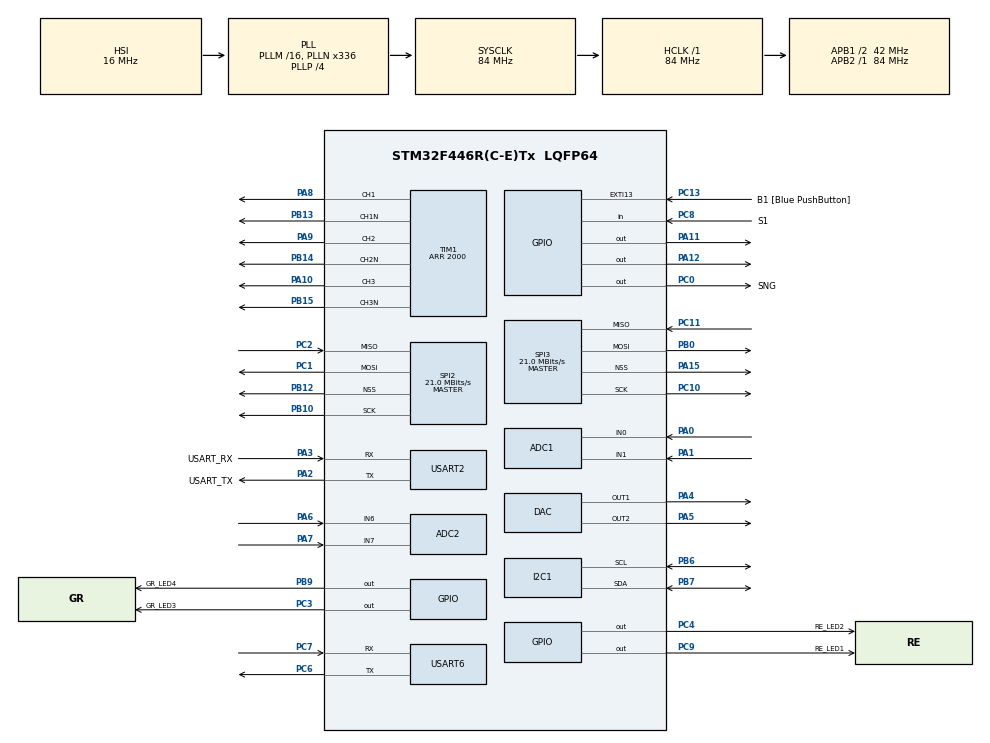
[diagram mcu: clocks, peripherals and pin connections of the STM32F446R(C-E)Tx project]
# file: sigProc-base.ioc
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ADC1.Channel-0\#ChannelRegularConversion=ADC_CHANNEL_0
ADC1.ClockPrescaler=ADC_CLOCK_SYNC_PCLK_DIV8
ADC1.EOCSelection=ADC_EOC_SEQ_CONV
ADC1.ExternalTrigConv=ADC_EXTERNALTRIGCONV_T2_TRGO
ADC1.NbrOfConversion=1
ADC1.NbrOfConversionFlag=1
ADC1.Rank-0\#ChannelRegularConversion=1
ADC1.SamplingTime-0\#ChannelRegularConversion=ADC_SAMPLETIME_3CYCLES
ADC1.master=1
ADC2.Channel-0\#ChannelRegularConversion=ADC_CHANNEL_6
ADC2.ClockPrescaler=ADC_CLOCK_SYNC_PCLK_DIV8
ADC2.EOCSelection=ADC_EOC_SEQ_CONV
ADC2.ExternalTrigConv=ADC_EXTERNALTRIGCONV_T2_TRGO
ADC2.NbrOfConversion=1
ADC2.NbrOfConversionFlag=1
ADC2.Rank-0\#ChannelRegularConversion=1
ADC2.SamplingTime-0\#ChannelRegularConversion=ADC_SAMPLETIME_3CYCLES
Dma.Request0=USART6_RX
Dma.Request1=USART6_TX
Dma.USART6_RX.0.Direction=DMA_PERIPH_TO_MEMORY
Dma.USART6_RX.0.FIFOMode=DMA_FIFOMODE_DISABLE
Dma.USART6_RX.0.Instance=DMA2_Stream1
Dma.USART6_RX.0.MemDataAlignment=DMA_MDATAALIGN_BYTE
Dma.USART6_RX.0.MemInc=DMA_MINC_ENABLE
Dma.USART6_RX.0.Mode=DMA_NORMAL
Dma.USART6_RX.0.PeriphDataAlignment=DMA_PDATAALIGN_BYTE
Dma.USART6_RX.0.PeriphInc=DMA_PINC_DISABLE
Dma.USART6_RX.0.Priority=DMA_PRIORITY_LOW
Dma.USART6_TX.1.Direction=DMA_MEMORY_TO_PERIPH
Dma.USART6_TX.1.FIFOMode=DMA_FIFOMODE_DISABLE
Dma.USART6_TX.1.Instance=DMA2_Stream6
Dma.USART6_TX.1.MemDataAlignment=DMA_MDATAALIGN_BYTE
Dma.USART6_TX.1.MemInc=DMA_MINC_ENABLE
Dma.USART6_TX.1.Mode=DMA_NORMAL
Dma.USART6_TX.1.PeriphDataAlignment=DMA_PDATAALIGN_BYTE
Dma.USART6_TX.1.PeriphInc=DMA_PINC_DISABLE
Dma.USART6_TX.1.Priority=DMA_PRIORITY_LOW
Mcu.Family=STM32F4
Mcu.Name=STM32F446R(C-E)Tx
Mcu.Package=LQFP64
NVIC.ADC_IRQn=true\:0\:0\:false\:false\:true\:true\:true\:true
NVIC.DMA2_Stream1_IRQn=true\:0\:0\:false\:false\:true\:false\:true\:true
NVIC.DMA2_Stream6_IRQn=true\:0\:0\:false\:false\:true\:false\:true\:true
NVIC.PriorityGroup=NVIC_PRIORITYGROUP_0
NVIC.TIM1_UP_TIM10_IRQn=true\:0\:0\:false\:false\:true\:true\:true\:true
NVIC.USART2_IRQn=true\:0\:0\:false\:false\:true\:true\:true\:true
NVIC.USART6_IRQn=true\:0\:0\:false\:false\:true\:true\:true\:true
PA0-WKUP.Signal=ADCx_IN0
PA1.Signal=ADCx_IN1
PA10.Signal=S_TIM1_CH3
PA11.Signal=GPIO_Output
PA12.Signal=GPIO_Output
PA13.GPIO_Label=TMS
PA13.Mode=Serial_Wire
PA13.Signal=SYS_JTMS-SWDIO
PA14.GPIO_Label=TCK
PA14.Mode=Serial_Wire
PA14.Signal=SYS_JTCK-SWCLK
PA15.Mode=NSS_Signal_Hard_Output
PA15.Signal=SPI3_NSS
PA2.GPIO_Label=USART_TX
PA2.Mode=Asynchronous
PA2.Signal=USART2_TX
PA3.GPIO_Label=USART_RX
PA3.Mode=Asynchronous
PA3.Signal=USART2_RX
PA4.Signal=COMP_DAC1_group
PA5.Signal=COMP_DAC2_group
PA6.Signal=ADCx_IN6
PA7.Signal=ADCx_IN7
PA8.Signal=S_TIM1_CH1
PA9.Signal=S_TIM1_CH2
PB0.Mode=Full_Duplex_Master
PB0.Signal=SPI3_MOSI
PB10.Mode=Full_Duplex_Master
PB10.Signal=SPI2_SCK
PB12.Mode=NSS_Signal_Hard_Output
PB12.Signal=SPI2_NSS
PB13.Mode=PWM Generation1 CH1 CH1N
PB13.Signal=TIM1_CH1N
PB14.Mode=Output Compare2 CH2 CH2N
PB14.Signal=TIM1_CH2N
PB15.Mode=Output Compare3 CH3 CH3N
PB15.Signal=TIM1_CH3N
PB3.GPIO_Label=SWO
PB3.Signal=SYS_JTDO-SWO
PB6.Mode=I2C
PB6.Signal=I2C1_SCL
PB7.Mode=I2C
PB7.Signal=I2C1_SDA
PB9.GPIO_Label=GR_LED4
PB9.Signal=GPIO_Output
PC0.GPIO_Label=SNG
PC0.Signal=GPIO_Output
PC1.Mode=Full_Duplex_Master
PC1.Signal=SPI2_MOSI
PC10.Mode=Full_Duplex_Master
PC10.Signal=SPI3_SCK
PC11.Mode=Full_Duplex_Master
PC11.Signal=SPI3_MISO
PC13.GPIO_Label=B1 [Blue PushButton]
PC13.GPIO_ModeDefaultEXTI=GPIO_MODE_IT_FALLING
PC13.Signal=GPXTI13
PC14-OSC32_IN.Mode=LSE-External-Oscillator
PC14-OSC32_IN.Signal=RCC_OSC32_IN
PC15-OSC32_OUT.Mode=LSE-External-Oscillator
PC15-OSC32_OUT.Signal=RCC_OSC32_OUT
PC2.Mode=Full_Duplex_Master
PC2.Signal=SPI2_MISO
PC3.GPIO_Label=GR_LED3
PC3.Signal=GPIO_Output
PC4.GPIO_Label=RE_LED2
PC4.Signal=GPIO_Output
PC6.Mode=Asynchronous
PC6.Signal=USART6_TX
PC7.Mode=Asynchronous
PC7.Signal=USART6_RX
PC8.GPIO_Label=S1
PC8.GPIO_PuPd=GPIO_PULLDOWN
PC8.Signal=GPIO_Input
PC9.GPIO_Label=RE_LED1
PC9.Signal=GPIO_Output
PH0-OSC_IN.Mode=HSE-External-Oscillator
PH0-OSC_IN.Signal=RCC_OSC_IN
PH1-OSC_OUT.Mode=HSE-External-Oscillator
PH1-OSC_OUT.Signal=RCC_OSC_OUT
ProjectManager.HeapSize=0x200
ProjectManager.StackSize=0x400
ProjectManager.TargetToolchain=STM32CubeIDE
RCC.48MHZClocksFreq_Value=84000000
RCC.AHBFreq_Value=84000000
RCC.APB1CLKDivider=RCC_HCLK_DIV2
RCC.APB1Freq_Value=42000000
RCC.APB1TimFreq_Value=84000000
RCC.APB2Freq_Value=84000000
RCC.APB2TimFreq_Value=84000000
RCC.CortexFreq_Value=84000000
RCC.FLatency-AdvancedSettings=FLASH_LATENCY_2
RCC.HCLKFreq_Value=84000000
RCC.HSE_VALUE=8000000
RCC.HSI_VALUE=16000000
RCC.PLLN=336
RCC.PLLP=RCC_PLLP_DIV4
RCC.SYSCLKFreq_VALUE=84000000
RCC.SYSCLKSource=RCC_SYSCLKSOURCE_PLLCLK
RCC.USBFreq_Value=168000000
RCC.VCOOutputFreq_Value=336000000
SH.ADCx_IN0.0=ADC1_IN0,IN0
SH.ADCx_IN1.0=ADC1_IN1,IN1
SH.ADCx_IN6.0=ADC2_IN6,IN6
SH.ADCx_IN7.0=ADC2_IN7,IN7
SH.COMP_DAC1_group.0=DAC_OUT1,DAC_OUT1
SH.COMP_DAC2_group.0=DAC_OUT2,DAC_OUT2
SH.S_TIM1_CH1.0=TIM1_CH1,PWM Generation1 CH1 CH1N
SH.S_TIM1_CH2.0=TIM1_CH2,Output Compare2 CH2 CH2N
SH.S_TIM1_CH3.0=TIM1_CH3,Output Compare3 CH3 CH3N
SPI2.CalculateBaudRate=21.0 MBits/s
SPI2.Direction=SPI_DIRECTION_2LINES
SPI2.Mode=SPI_MODE_MASTER
SPI2.VirtualNSS=VM_NSSHARD
SPI2.VirtualType=VM_MASTER
SPI3.CalculateBaudRate=21.0 MBits/s
SPI3.Direction=SPI_DIRECTION_2LINES
SPI3.Mode=SPI_MODE_MASTER
SPI3.VirtualNSS=VM_NSSHARD
SPI3.VirtualType=VM_MASTER
TIM1.Channel-Output\ Compare2\ CH2\ CH2N=TIM_CHANNEL_2
TIM1.Channel-Output\ Compare3\ CH3\ CH3N=TIM_CHANNEL_3
TIM1.Channel-PWM\ Generation1\ CH1\ CH1N=TIM_CHANNEL_1
TIM1.Period=2000
TIM1.Pulse-PWM\ Generation1\ CH1\ CH1N=10
TIM1.TIM_MasterOutputTrigger=TIM_TRGO_UPDATE
TIM10.AutoReloadPreload=TIM_AUTORELOAD_PRELOAD_ENABLE
TIM10.Channel=TIM_CHANNEL_1
TIM10.Period=1000
TIM10.Prescaler=83
TIM2.AutoReloadPreload=TIM_AUTORELOAD_PRELOAD_ENABLE
TIM2.Channel-PWM\ Generation1\ No\ Output=TIM_CHANNEL_1
TIM2.Period=5000
TIM2.Pulse-PWM\ Generation1\ No\ Output=50
TIM2.TIM_MasterOutputTrigger=TIM_TRGO_UPDATE
USART2.VirtualMode=VM_ASYNC
USART6.VirtualMode=VM_ASYNC
VP_TIM10_VS_ClockSourceINT.Mode=Enable_Timer
VP_TIM10_VS_no_output1.Mode=Output Compare1 No Output
VP_TIM1_VS_ClockSourceINT.Mode=Internal
VP_TIM2_VS_ClockSourceINT.Mode=Internal
VP_TIM2_VS_no_output1.Mode=PWM Generation1 No Output
board=NUCLEO-F446RE

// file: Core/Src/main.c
/* USER CODE BEGIN Header */
/**
  ******************************************************************************
  * @file           : main.c
  * @brief          : Main program body
  ******************************************************************************
  * @attention
  *
  * Copyright (c) 2025 STMicroelectronics.
  * All rights reserved.
  *
  * This software is licensed under terms that can be found in the LICENSE file
  * in the root directory of this software component.
  * If no LICENSE file comes with this software, it is provided AS-IS.
  *
  ******************************************************************************
  */
/* USER CODE END Header */
#include "main.h"
#include "adc.h"
#include "dac.h"
#include "dma.h"
#include "i2c.h"
#include "spi.h"
#include "tim.h"
#include "usart.h"
#include "gpio.h"
#include "string.h"

/* USER CODE BEGIN Includes */
#include "app.h"
#include "stdio.h"
#include "stdbool.h"

/* USER CODE END Includes */

void SystemClock_Config(void);

int main(void)
{

  /* MCU Configuration--------------------------------------------------------*/

  /* Reset of all peripherals, Initializes the Flash interface and the Systick. */
  HAL_Init();

  /* Configure the system clock */
  SystemClock_Config();

  /* Initialize all configured peripherals */
  MX_GPIO_Init();
  MX_DMA_Init();
  MX_USART2_UART_Init();
  MX_ADC1_Init();
  MX_DAC_Init();
  MX_TIM1_Init();
  MX_ADC2_Init();
  MX_I2C1_Init();
  MX_SPI2_Init();
  MX_SPI3_Init();
  MX_USART6_UART_Init();
  MX_TIM10_Init();
  MX_TIM2_Init();
  /* USER CODE BEGIN 2 */

  HAL_GPIO_WritePin(RE_LED1_GPIO_Port, RE_LED1_Pin, GPIO_PIN_SET);
  HAL_GPIO_WritePin(RE_LED2_GPIO_Port, RE_LED2_Pin, GPIO_PIN_SET);
  HAL_GPIO_WritePin(GR_LED3_GPIO_Port, GR_LED3_Pin, GPIO_PIN_SET);
  HAL_GPIO_WritePin(GR_LED4_GPIO_Port, GR_LED4_Pin, GPIO_PIN_SET);

  HAL_DAC_Start(&hdac, DAC_CHANNEL_1);
  HAL_DAC_Start(&hdac, DAC_CHANNEL_2);

  HAL_GPIO_WritePin(RE_LED1_GPIO_Port, RE_LED1_Pin, GPIO_PIN_RESET);
  HAL_GPIO_WritePin(RE_LED2_GPIO_Port, RE_LED2_Pin, GPIO_PIN_RESET);
  HAL_GPIO_WritePin(GR_LED3_GPIO_Port, GR_LED3_Pin, GPIO_PIN_RESET);
  HAL_GPIO_WritePin(GR_LED4_GPIO_Port, GR_LED4_Pin, GPIO_PIN_RESET);

  HAL_TIM_Base_Start(&htim1);
  HAL_TIM_Base_Start(&htim2); // Trigger of the ADCs
  HAL_TIM_Base_Start_IT(&htim10);

  HAL_ADC_Start_IT(&hadc1);
  HAL_ADC_Start(&hadc2);

  app_init();
  initUart();
  sendUart("Starting !\n");

  /* USER CODE END 2 */

  /* Infinite loop */
  /* USER CODE BEGIN WHILE */
  while (1)
  {
	  app_loop();
    /* USER CODE END WHILE */

  }
}

void SystemClock_Config(void)
{
  RCC_OscInitTypeDef RCC_OscInitStruct = {0};
  RCC_ClkInitTypeDef RCC_ClkInitStruct = {0};

  /** Configure the main internal regulator output voltage
  */
  __HAL_RCC_PWR_CLK_ENABLE();
  __HAL_PWR_VOLTAGESCALING_CONFIG(PWR_REGULATOR_VOLTAGE_SCALE3);

  /** Initializes the RCC Oscillators according to the specified parameters
  * in the RCC_OscInitTypeDef structure.
  */
  RCC_OscInitStruct.OscillatorType = RCC_OSCILLATORTYPE_HSI;
  RCC_OscInitStruct.HSIState = RCC_HSI_ON;
  RCC_OscInitStruct.HSICalibrationValue = RCC_HSICALIBRATION_DEFAULT;
  RCC_OscInitStruct.PLL.PLLState = RCC_PLL_ON;
  RCC_OscInitStruct.PLL.PLLSource = RCC_PLLSOURCE_HSI;
  RCC_OscInitStruct.PLL.PLLM = 16;
  RCC_OscInitStruct.PLL.PLLN = 336;
  RCC_OscInitStruct.PLL.PLLP = RCC_PLLP_DIV4;
  RCC_OscInitStruct.PLL.PLLQ = 2;
  RCC_OscInitStruct.PLL.PLLR = 2;
  if (HAL_RCC_OscConfig(&RCC_OscInitStruct) != HAL_OK)
  {
    Error_Handler();
  }

  /** Initializes the CPU, AHB and APB buses clocks
  */
  RCC_ClkInitStruct.ClockType = RCC_CLOCKTYPE_HCLK|RCC_CLOCKTYPE_SYSCLK
                              |RCC_CLOCKTYPE_PCLK1|RCC_CLOCKTYPE_PCLK2;
  RCC_ClkInitStruct.SYSCLKSource = RCC_SYSCLKSOURCE_PLLCLK;
  RCC_ClkInitStruct.AHBCLKDivider = RCC_SYSCLK_DIV1;
  RCC_ClkInitStruct.APB1CLKDivider = RCC_HCLK_DIV2;
  RCC_ClkInitStruct.APB2CLKDivider = RCC_HCLK_DIV1;

  if (HAL_RCC_ClockConfig(&RCC_ClkInitStruct, FLASH_LATENCY_2) != HAL_OK)
  {
    Error_Handler();
  }
}

/* USER CODE BEGIN 4 */
void HAL_ADC_ConvCpltCallback(ADC_HandleTypeDef *hadc)
{
	uint16_t v1=HAL_ADC_GetValue(&hadc1);
	uint16_t v2=HAL_ADC_GetValue(&hadc2);
	app_adc(v1,v2);
}

void HAL_TIM_PeriodElapsedCallback(TIM_HandleTypeDef *htim)
{
	// Call timer function in the application
	app_timer(htim);
}

int _write(int file, char *ptr, int len)
{
    HAL_UART_Transmit(&huart2, (uint8_t *)ptr, len, HAL_MAX_DELAY);
    return len;
}

void sendUart(char * str)
{
	_write(0, str, strlen(str));
}

// Uses 2 buffers to construct received strings
char recBuffer[2][128];
int recIndex=0;
int nbRecIn=0;
int currentBuffer=0;
#define EOL 13
bool newLine=false;
int uartOverflow=0;
int lineOverflow=0;
char * pRec=0;

void initUart()
{
	HAL_UART_Receive_IT(&huart2, (uint8_t*)&recBuffer[0][0], 1);
}

// Overload the weak function of the library
void HAL_UART_RxCpltCallback(UART_HandleTypeDef *huart)
{
	if (recBuffer[currentBuffer][recIndex]==EOL) {
		if (!newLine) {
			newLine=true;
			nbRecIn=recIndex;
			pRec=recBuffer[currentBuffer];
		} else {
			lineOverflow++;
		}
		currentBuffer=1-currentBuffer;
		recIndex=0;
	} else {
		recIndex++;
		if (recIndex >= sizeof(recBuffer[0])) {
			uartOverflow++;
			recIndex=0;
		}
	}

	HAL_UART_Receive_IT(&huart2, (uint8_t*)&recBuffer[currentBuffer][recIndex], 1);
}

// Read UART buffer and return the number of chars
int getUart(char * str)
{
	if (newLine) {
		newLine=false;
		memcpy(str, pRec, nbRecIn);
		str[nbRecIn]=0;
		return nbRecIn;
	}
	str[0]=0;
	return 0;
}

// Change the PWM frequency. TIM1 generates the PWM and TIM2 triggers the ADC
void setPWMFreq(float freq)
{
	uint32_t Period = HAL_RCC_GetPCLK1Freq()*2 / freq;
	htim1.Instance->ARR = Period ;
	htim2.Instance->ARR = Period ;
}

// Enable the PWM outputs
void enablePWM(bool en)
{
	if (en) {
		HAL_TIM_PWM_Start(&htim1, TIM_CHANNEL_1);
		HAL_TIM_PWM_Start(&htim1, TIM_CHANNEL_2);
		HAL_TIM_PWM_Start(&htim1, TIM_CHANNEL_3);
	} else {
		HAL_TIM_PWM_Stop(&htim1, TIM_CHANNEL_1);
		HAL_TIM_PWM_Stop(&htim1, TIM_CHANNEL_2);
		HAL_TIM_PWM_Stop(&htim1, TIM_CHANNEL_3);
	}
}
/* USER CODE END 4 */

void Error_Handler(void)
{
  /* USER CODE BEGIN Error_Handler_Debug */
  /* User can add his own implementation to report the HAL error return state */
  __disable_irq();
  printf("Stuck in Error_Handler\n\r");
  while (1)
  {
  }
  /* USER CODE END Error_Handler_Debug */
}
